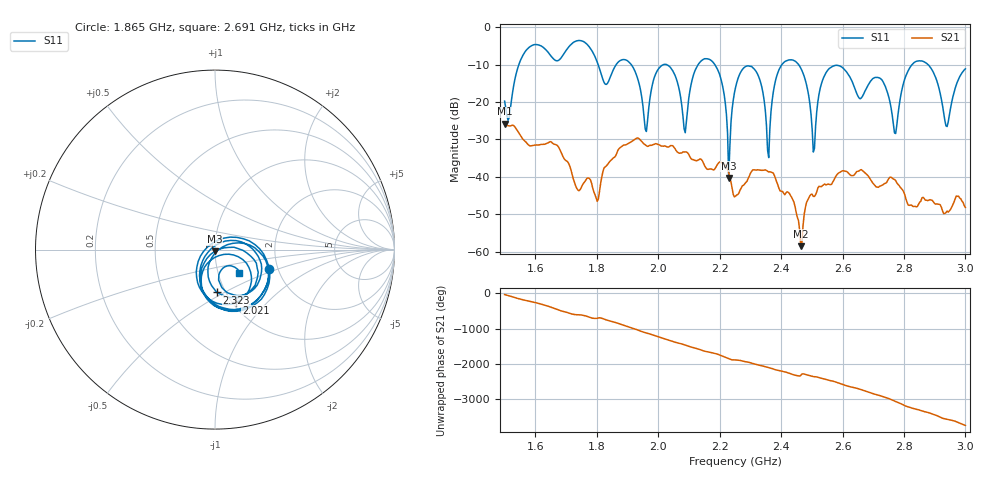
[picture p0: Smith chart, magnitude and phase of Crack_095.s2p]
# HZ S RI R 50
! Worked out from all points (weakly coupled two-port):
!   404 points, 1.5 GHz to 3 GHz, reference 50 ohm
!   highest |S21| = -25.84 dB at 1.5 GHz (marker M1); lowest = -58.5 dB at 2.464 GHz (marker M2)
!   lowest |S11| = -40.3 dB at 2.23 GHz (marker M3), VSWR 1.02, Z = 49.8 - j0.942 ohm
!   |S11| at or under -10 dB: 2.184 GHz to 2.403 GHz (218.9 MHz wide, 9.54 % of centre); 2.457 GHz to 2.827 GHz (369.8 MHz wide, 14 % of centre); 2.878 GHz to end of sweep (the widest 3 of 7)
!   S12 and S22 are empty: the file has one direction only
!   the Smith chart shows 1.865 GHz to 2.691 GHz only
!   S11 on the Smith chart (normalised r, x): 1.865 GHz: 1.80, -0.44; 2.021 GHz: 1.04, -0.68; 2.323 GHz: 0.91, -0.46; 2.691 GHz: 1.26, -0.35
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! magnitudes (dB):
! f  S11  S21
! 1.5 GHz  -19.8  -25.8
! 1.578 GHz  -5.5  -31.5
! 1.753 GHz  -3.7  -42.2
! 1.865 GHz  -9.8  -33.8
! 1.962 GHz  -27.9  -31.7
! 2.002 GHz  -11.0  -31.4
! 2.021 GHz  -10.0  -31.7
! 2.088 GHz  -28.2  -33.3
! 2.177 GHz  -9.3  -38.1
! 2.23 GHz  -40.3  -38.9
! 2.252 GHz  -16.1  -45.1
! 2.323 GHz  -12.4  -38.1
! 2.36 GHz  -34.9  -38.7
! 2.397 GHz  -10.8  -43.8
! 2.464 GHz  -11.0  -58.5
! 2.501 GHz  -27.3  -44.7
! 2.561 GHz  -10.8  -42.1
! 2.691 GHz  -14.5  -40.8
! 2.751 GHz  -18.7  -40.5
! 2.866 GHz  -9.3  -45.8
! 2.94 GHz  -26.6  -49.1
! 3 GHz  -11.2  -48.2
